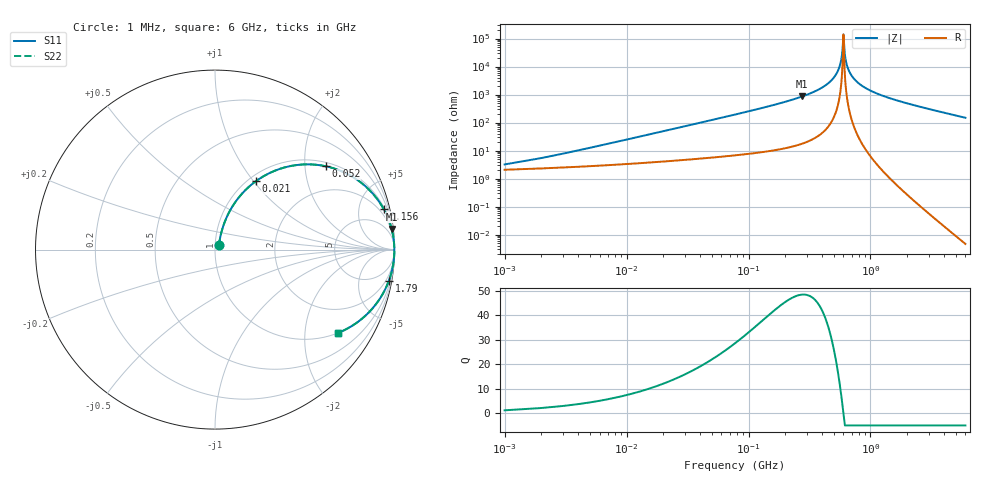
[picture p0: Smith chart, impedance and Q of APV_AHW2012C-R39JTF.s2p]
! APV AHW2012C-R39JTF 390 nH 0805 wire-wound (L6)
! Lumped model fitted to APV datasheet: Q=48@250MHz, SRF=600MHz, DCR=1.50 ohm
! Model: (L + DCR + k*sqrt(f)) || Cp ; L=3.9e-07 H, Cp=1.8e-13 F, k=0.000572
! Generated by make_s2p.py - an estimate, not a measurement
! Series-thru 2-port: part connected between port 1 and port 2.
# Hz S RI R 50
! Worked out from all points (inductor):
!   1500 points, 1 MHz to 6 GHz, reference 50 ohm
!   read as one part in series: L = 390 nH near 8 MHz
!   highest Q = 48.4 at 275 MHz (marker M1), where L = 494 nH
!   self-resonance near 599 MHz
!   S11 on the Smith chart (normalised r, x): 1 MHz: 1.04, +0.05; 21 MHz: 1.08, +1.03; 52 MHz: 1.11, +2.57; 156 MHz: 1.20, +8.20; 1.79 GHz: 1, -11; 6 GHz: 1.00, -2.97
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1000000  0.0209 0.0235  0.9791 -0.0235  0.9791 -0.0235  0.0209 0.0235
5000000  0.0407 0.1144  0.9593 -0.1144  0.9593 -0.1144  0.0407 0.1144
1.9e7  0.1993 0.3588  0.8007 -0.3588  0.8007 -0.3588  0.1993 0.3588
2.1e7  0.2285 0.3817  0.7715 -0.3817  0.7715 -0.3817  0.2285 0.3817
5.2e7  0.6178 0.4642  0.3822 -0.4642  0.3822 -0.4642  0.6178 0.4642
7.8e7  0.783 0.3952  0.217 -0.3952  0.217 -0.3952  0.783 0.3952
1.56e8  0.939 0.2276  0.061 -0.2276  0.061 -0.2276  0.939 0.2276
2.75e8  0.9841 0.115  0.0159 -0.115  0.0159 -0.115  0.9841 0.115
3.31e8  0.9909 0.0848  0.00907 -0.0848  0.00907 -0.0848  0.9909 0.0848
4.4e8  0.997 0.0427  0.00299 -0.0427  0.00299 -0.0427  0.997 0.0427
5.23e8  0.9988 0.0187  0.00124 -0.0187  0.00124 -0.0187  0.9988 0.0187
5.71e8  0.9992 0.00672  0.000819 -0.00672  0.000819 -0.00672  0.9992 0.00672
5.83e8  0.9992 0.0039  0.000765 -0.0039  0.000765 -0.0039  0.9992 0.0039
6e8  0.9993 -7.56e-06  0.000717 7.56e-06  0.000717 7.56e-06  0.9993 -7.56e-06
6.05e8  0.9993 -0.00113  0.000709 0.00113  0.000709 0.00113  0.9993 -0.00113
6.18e8  0.9993 -0.00402  0.000701 0.00402  0.000701 0.00402  0.9993 -0.00402
6.36e8  0.9993 -0.00793  0.000718 0.00793  0.000718 0.00793  0.9993 -0.00793
7.19e8  0.9988 -0.0247  0.00115 0.0247  0.00115 0.0247  0.9988 -0.0247
1e9  0.9944 -0.0721  0.00556 0.0721  0.00556 0.0721  0.9944 -0.0721
1.41e9  0.983 -0.1286  0.017 0.1286  0.017 0.1286  0.983 -0.1286
1.79e9  0.9685 -0.1744  0.0315 0.1744  0.0315 0.1744  0.9685 -0.1744
6e9  0.688 -0.4633  0.312 0.4633  0.312 0.4633  0.688 -0.4633
